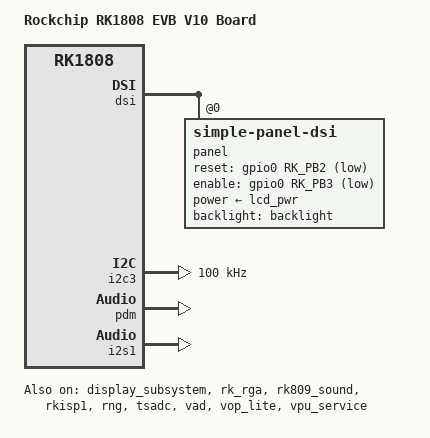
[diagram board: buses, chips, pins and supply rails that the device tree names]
// SPDX-License-Identifier: (GPL-2.0+ OR MIT)
/*
 * Copyright (c) 2018 Fuzhou Rockchip Electronics Co., Ltd
 */

/dts-v1/;
#include <dt-bindings/display/drm_mipi_dsi.h>
#include "rk1808-evb.dtsi"

/ {
	model = "Rockchip RK1808 EVB V10 Board";
	compatible = "rockchip,rk1808-evb-v10", "rockchip,rk1808";

	chosen {
		bootargs = "earlycon=uart8250,mmio32,0xff550000 console=ttyFIQ0 root=PARTUUID=614e0000-0000 rootfstype=ext4 rootwait swiotlb=1 kpti=0 snd_aloop.index=7";
	};

	vad-sound {
		status = "okay";
		compatible = "rockchip,multicodecs-card";
		rockchip,card-name = "rockchip,rk1808-vad";
		rockchip,cpu = <&pdm>;
		rockchip,codec = <&vad>;
	};
};

&adc_key {
	vol-down-key {
		linux,code = <KEY_VOLUMEDOWN>;
		label = "volume down";
		press-threshold-microvolt = <300000>;
	};

	vol-up-key {
		linux,code = <KEY_VOLUMEUP>;
		label = "volume up";
		press-threshold-microvolt = <18000>;
	};
};

&display_subsystem {
	status = "okay";
};

&dsi {
	status = "okay";

	panel@0 {
		compatible = "simple-panel-dsi";
		reg = <0>;
		backlight = <&backlight>;
		power-supply = <&lcd_pwr>;
		reset-gpios = <&gpio0 RK_PB2 GPIO_ACTIVE_LOW>;
		enable-gpios = <&gpio0 RK_PB3 GPIO_ACTIVE_LOW>;

		prepare-delay-ms = <2>;
		reset-delay-ms = <1>;
		init-delay-ms = <20>;
		enable-delay-ms = <120>;
		disable-delay-ms = <50>;
		unprepare-delay-ms = <20>;

		width-mm = <52>;
		height-mm = <86>;

		dsi,flags = <(MIPI_DSI_MODE_VIDEO | MIPI_DSI_MODE_VIDEO_BURST |
			      MIPI_DSI_MODE_LPM | MIPI_DSI_MODE_EOT_PACKET)>;
		dsi,format = <MIPI_DSI_FMT_RGB888>;
		dsi,lanes = <2>;

		panel-init-sequence = [
			39 10 06 ff ff 98 06 04 01
			15 10 02 08 10
			15 10 02 21 01

			15 10 02 60 07
			15 10 02 61 06
			15 10 02 63 04
			15 10 02 40 14
			15 10 02 41 44
			15 10 02 42 01
			15 10 02 43 89
			15 10 02 44 89
			15 10 02 45 1b
			15 10 02 46 44
			15 10 02 47 44
			15 10 02 50 85
			15 10 02 51 85
			15 10 02 52 00
			15 10 02 53 64
			15 10 02 a0 00
			15 10 02 a1 00
			15 10 02 a2 03
			15 10 02 a3 0e
			15 10 02 a4 08
			15 10 02 a5 1f
			15 10 02 a6 0f
			15 10 02 a7 0b
			15 10 02 a8 03
			15 10 02 a9 06
			15 10 02 aa 05
			15 10 02 ab 02
			15 10 02 ac 0e 
			15 10 02 ad 25
			15 10 02 ae 1d
			15 10 02 af 00
			15 10 02 c0 00
			15 10 02 c1 04
			15 10 02 c2 0f
			15 10 02 c3 10
			15 10 02 c4 0b
			15 10 02 c5 1e
			15 10 02 c6 09
			15 10 02 c7 0a
			15 10 02 c8 00
			15 10 02 c9 0a
			15 10 02 ca 01
			15 10 02 cb 06
			15 10 02 cc 09
			15 10 02 cd 2a
			15 10 02 ce 28
			15 10 02 cf 00
			39 10 06 ff ff 98 06 04 06
			15 10 02 00 a0
			15 10 02 01 05
			15 10 02 02 00
			15 10 02 03 00
			15 10 02 04 01
			15 10 02 05 01
			15 10 02 06 88
			15 10 02 07 04
			15 10 02 08 01
			15 10 02 09 90
			15 10 02 0a 04
			15 10 02 0b 01
			15 10 02 0c 01
			15 10 02 0d 01
			15 10 02 0e 00
			15 10 02 0f 00
			15 10 02 10 55
			15 10 02 11 50
			15 10 02 12 01 
			15 10 02 13 85
			15 10 02 14 85
			15 10 02 15 c0
			15 10 02 16 0b 
			15 10 02 17 00
			15 10 02 18 00
			15 10 02 19 00
			15 10 02 1a 00
			15 10 02 1b 00
			15 10 02 1c 00
			15 10 02 1d 00
			15 10 02 20 01
			15 10 02 21 23
			15 10 02 22 45
			15 10 02 23 67
			15 10 02 24 01
			15 10 02 25 23
			15 10 02 26 45
			15 10 02 27 67
			15 10 02 30 02
			15 10 02 31 22
			15 10 02 32 11
			15 10 02 33 aa
			15 10 02 34 bb
			15 10 02 35 66
			15 10 02 36 00
			15 10 02 37 22
			15 10 02 38 22
			15 10 02 39 22
			15 10 02 3a 22
			15 10 02 3b 22
			15 10 02 3c 22
			15 10 02 3d 22
			15 10 02 3e 22
			15 10 02 3f 22
			15 10 02 40 22
			39 10 06 ff ff 98 06 04 07
			15 10 02 18 1d
			15 10 02 17 12
			15 10 02 02 77
			15 10 02 e1 79
			15 10 02 06 13
			39 10 06 ff ff 98 06 04 00
			15 10 02 3a 66
			15 78 02 11 00
			15 10 02 29 00
		];

		panel-exit-sequence = [
			05 00 01 28
			05 00 01 10
		];

		display-timings {
			native-mode = <&timing0>;

			timing0: timing0 {
				clock-frequency = <28625400>;
				hactive = <480>;
				vactive = <800>;
				hfront-porch = <40>;
				hsync-len = <10>;
				hback-porch = <40>;
				vfront-porch = <22>;
				vsync-len = <4>;
				vback-porch = <11>;
				hsync-active = <1>;
				vsync-active = <1>;
				de-active = <0>;
				pixelclk-active = <0>;
			};
		};
	};
};

/* gt1x gtp disable */
&i2c1 {
	status = "disabled";
};

&i2c3 {
	status = "okay";

	clock-frequency = <100000>;

	imx327: imx327@1a {
		status = "disabled";
		compatible = "sony,imx327";
		reg = <0x1a>;
		clocks = <&cru SCLK_CIF_OUT>;
		clock-names = "xvclk";
		avdd-supply = <&vcc2v8_dvp>;
		dovdd-supply = <&vdd1v5_dvp>;
		dvdd-supply = <&vcc1v8_dvp>;
		pwdn-gpios = <&gpio0 23 GPIO_ACTIVE_HIGH>;
		pinctrl-names = "default";
		pinctrl-0 = <&cif_clkout_m0>;
		rockchip,camera-module-index = <0>;
		rockchip,camera-module-facing = "back";
		rockchip,camera-module-name = "TongJu";
		rockchip,camera-module-lens-name = "CHT842-MD";
		port {
			ucam_out: endpoint {
				remote-endpoint = <&mipi_in_ucam>;
				data-lanes = <1 2>;
			};
		};
	};
};

/* Not connected */
&i2c4 {
	status = "disabled";
};

&pdm {
	status = "okay";
	#sound-dai-cells = <0>;
};

&i2s1 {
	status = "okay";
	#sound-dai-cells = <0>;
};

&isp_mmu {
	status = "okay";
};

&mipi_dphy {
	status = "disabled";
};

&mipi_dphy_rx {
	status = "disabled";

	ports {
		#address-cells = <1>;
		#size-cells = <0>;

		port@0 {
			reg = <0>;
			#address-cells = <1>;
			#size-cells = <0>;

			mipi_in_ucam: endpoint@1 {
				reg = <1>;
				remote-endpoint = <&ucam_out>;
				data-lanes = <1 2>;
			};
		};

		port@1 {
			reg = <1>;
			#address-cells = <1>;
			#size-cells = <0>;

			dphy_rx0_out: endpoint@0 {
				reg = <0>;
				remote-endpoint = <&isp0_mipi_in>;
			};
		};
	};
};

&rk_rga {
	status =  "okay";
};

&rk809_sound {
	status = "okay";
};

&rkisp1 {
	status = "okay";

	port {
		#address-cells = <1>;
		#size-cells = <0>;

		isp0_mipi_in: endpoint@0 {
			reg = <0>;
			remote-endpoint = <&dphy_rx0_out>;
		};
	};
};

&rng {
	status = "okay";
};

&rockchip_suspend {
	status = "okay";
	rockchip,sleep-debug-en = <1>;
};

&route_dsi {
	status = "disabled";
};

&tsadc {
	rockchip,hw-tshut-mode = <1>; /* tshut mode 0:CRU 1:GPIO */
	rockchip,hw-tshut-polarity = <0>; /* tshut polarity 0:LOW 1:HIGH */
	pinctrl-names = "gpio", "otpout";
	pinctrl-0 = <&tsadc_otp_gpio>;
	pinctrl-1 = <&tsadc_otp_out>;
	status = "okay";
};

&vad {
	status = "okay";
	rockchip,audio-src = <&pdm>;
	rockchip,buffer-time-ms = <200>;
	rockchip,det-channel = <0>;
	rockchip,mode = <1>;
	#sound-dai-cells = <0>;
};

&vop_lite {
	status = "okay";
};

&vopl_mmu {
	status = "okay";
};

&vpu_mmu {
	status = "okay";
};

&vpu_service {
	status = "okay";
};
